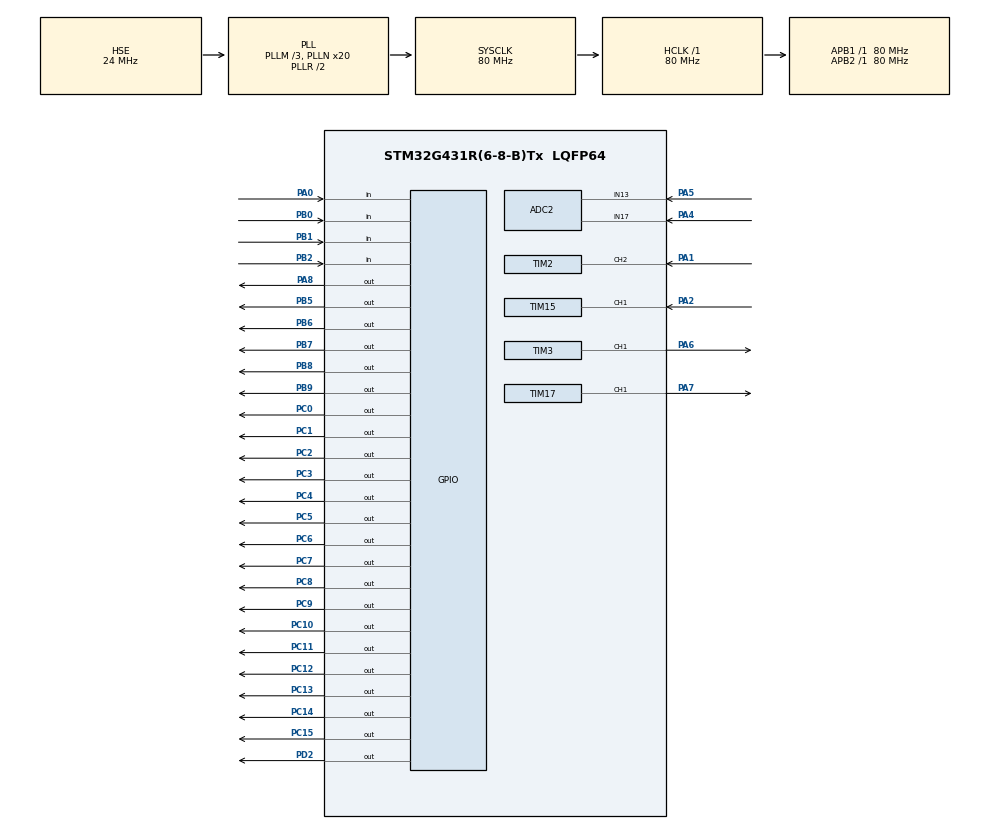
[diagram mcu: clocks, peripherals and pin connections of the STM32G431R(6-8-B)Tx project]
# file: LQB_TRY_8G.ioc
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ADC2.Channel-0\#ChannelRegularConversion=ADC_CHANNEL_17
ADC2.Channel-1\#ChannelRegularConversion=ADC_CHANNEL_13
ADC2.NbrOfConversion=2
ADC2.NbrOfConversionFlag=1
ADC2.OffsetNumber-0\#ChannelRegularConversion=ADC_OFFSET_NONE
ADC2.OffsetNumber-1\#ChannelRegularConversion=ADC_OFFSET_NONE
ADC2.Rank-0\#ChannelRegularConversion=1
ADC2.Rank-1\#ChannelRegularConversion=2
ADC2.SamplingTime-0\#ChannelRegularConversion=ADC_SAMPLETIME_640CYCLES_5
ADC2.SamplingTime-1\#ChannelRegularConversion=ADC_SAMPLETIME_640CYCLES_5
Mcu.Family=STM32G4
Mcu.Name=STM32G431R(6-8-B)Tx
Mcu.Package=LQFP64
NVIC.PriorityGroup=NVIC_PRIORITYGROUP_4
NVIC.TIM1_BRK_TIM15_IRQn=true\:0\:0\:false\:false\:true\:true\:true
NVIC.TIM2_IRQn=true\:0\:0\:false\:false\:true\:true\:true
NVIC.TIM6_DAC_IRQn=true\:0\:0\:false\:false\:true\:true\:true
PA0.GPIO_Mode=GPIO_MODE_INPUT
PA0.GPIO_PuPd=GPIO_PULLUP
PA0.Signal=GPIO_Input
PA1.Signal=S_TIM2_CH2
PA13.Mode=Serial_Wire
PA13.Signal=SYS_JTMS-SWDIO
PA14.Mode=Serial_Wire
PA14.Signal=SYS_JTCK-SWCLK
PA2.Signal=S_TIM15_CH1
PA4.Mode=IN17-Single-Ended
PA4.Signal=ADC2_IN17
PA5.Mode=IN13-Single-Ended
PA5.Signal=ADC2_IN13
PA6.Signal=S_TIM3_CH1
PA7.Signal=S_TIM17_CH1
PA8.Signal=GPIO_Output
PB0.GPIO_Mode=GPIO_MODE_INPUT
PB0.GPIO_PuPd=GPIO_PULLUP
PB0.Signal=GPIO_Input
PB1.GPIO_Mode=GPIO_MODE_INPUT
PB1.GPIO_PuPd=GPIO_PULLUP
PB1.Signal=GPIO_Input
PB2.GPIO_Mode=GPIO_MODE_INPUT
PB2.GPIO_PuPd=GPIO_PULLUP
PB2.Signal=GPIO_Input
PB5.Signal=GPIO_Output
PB6.Signal=GPIO_Output
PB7.Signal=GPIO_Output
PB8-BOOT0.Signal=GPIO_Output
PB9.Signal=GPIO_Output
PC0.Signal=GPIO_Output
PC1.Signal=GPIO_Output
PC10.Signal=GPIO_Output
PC11.Signal=GPIO_Output
PC12.Signal=GPIO_Output
PC13.Signal=GPIO_Output
PC14-OSC32_IN.Signal=GPIO_Output
PC15-OSC32_OUT.Signal=GPIO_Output
PC2.Signal=GPIO_Output
PC3.Signal=GPIO_Output
PC4.Signal=GPIO_Output
PC5.Signal=GPIO_Output
PC6.Signal=GPIO_Output
PC7.Signal=GPIO_Output
PC8.Signal=GPIO_Output
PC9.Signal=GPIO_Output
PD2.Signal=GPIO_Output
PF0-OSC_IN.Mode=HSE-External-Oscillator
PF0-OSC_IN.Signal=RCC_OSC_IN
PF1-OSC_OUT.Mode=HSE-External-Oscillator
PF1-OSC_OUT.Signal=RCC_OSC_OUT
ProjectManager.HeapSize=0x200
ProjectManager.StackSize=0x400
ProjectManager.TargetToolchain=MDK-ARM V5
RCC.ADC12Freq_Value=80000000
RCC.AHBFreq_Value=80000000
RCC.APB1Freq_Value=80000000
RCC.APB1TimFreq_Value=80000000
RCC.APB2Freq_Value=80000000
RCC.APB2TimFreq_Value=80000000
RCC.CortexFreq_Value=80000000
RCC.EXTERNAL_CLOCK_VALUE=12288000
RCC.HCLKFreq_Value=80000000
RCC.HSE_VALUE=24000000
RCC.HSI48_VALUE=48000000
RCC.HSI_VALUE=16000000
RCC.LSE_VALUE=32768
RCC.PLLM=RCC_PLLM_DIV3
RCC.PLLN=20
RCC.PLLSourceVirtual=RCC_PLLSOURCE_HSE
RCC.SYSCLKFreq_VALUE=80000000
RCC.SYSCLKSource=RCC_SYSCLKSOURCE_PLLCLK
RCC.USBFreq_Value=80000000
RCC.VCOOutputFreq_Value=160000000
SH.S_TIM15_CH1.0=TIM15_CH1,Input_Capture1_from_TI1
SH.S_TIM17_CH1.0=TIM17_CH1,PWM Generation1 CH1
SH.S_TIM2_CH2.0=TIM2_CH2,Input_Capture2_from_TI2
SH.S_TIM3_CH1.0=TIM3_CH1,PWM Generation1 CH1
TIM15.Channel-Input_Capture1_from_TI1=TIM_CHANNEL_1
TIM15.PeriodNoDither=0xffff
TIM15.Prescaler=79
TIM17.Channel=TIM_CHANNEL_1
TIM17.PeriodNoDither=99
TIM17.Prescaler=799
TIM17.PulseNoDither_1=50
TIM2.Channel-Input_Capture2_from_TI2=TIM_CHANNEL_2
TIM2.Prescaler=79
TIM3.Channel-PWM\ Generation1\ CH1=TIM_CHANNEL_1
TIM3.PeriodNoDither=99
TIM3.Prescaler=799
TIM6.PeriodNoDither=999
TIM6.Prescaler=799
VP_SYS_VS_DBSignals.Mode=DisableDeadBatterySignals
VP_TIM15_VS_ClockSourceINT.Mode=Internal
VP_TIM17_VS_ClockSourceINT.Mode=Enable_Timer
VP_TIM3_VS_ClockSourceINT.Mode=Internal
VP_TIM6_VS_ClockSourceINT.Mode=Enable_Timer
board=custom

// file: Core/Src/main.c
/* USER CODE BEGIN Header */
/**
  ******************************************************************************
  * @file           : main.c
  * @brief          : Main program body
  ******************************************************************************
  * @attention
  *
  * <h2><center>&copy; Copyright (c) 2023 STMicroelectronics.
  * All rights reserved.</center></h2>
  *
  * This software component is licensed by ST under BSD 3-Clause license,
  * the "License"; You may not use this file except in compliance with the
  * License. You may obtain a copy of the License at:
  *                        opensource.org/licenses/BSD-3-Clause
  *
  ******************************************************************************
  */
/* USER CODE END Header */
#include "main.h"
#include "adc.h"
#include "tim.h"
#include "gpio.h"

/* USER CODE BEGIN Includes */
#include "mint.h"
#include "lcd.h"
#include "i2c_hal.h"

/* USER CODE END Includes */

/* USER CODE BEGIN PV */
bool page=0,line=0;
unsigned char puls1,puls2,f_math,p_math;
double adc[2];
char text[30];

extern keys key[4];

/* USER CODE END PV */

void SystemClock_Config(void);
/* USER CODE BEGIN PFP */
void LCD_Proc(void);
void KEY_Proc(void);
void LED_Proc(unsigned char led,unsigned char sta);

/* USER CODE END PFP */

int main(void)
{

  /* MCU Configuration--------------------------------------------------------*/

  /* Reset of all peripherals, Initializes the Flash interface and the Systick. */
  HAL_Init();

  /* Configure the system clock */
  SystemClock_Config();

  /* Initialize all configured peripherals */
  MX_GPIO_Init();
  MX_ADC2_Init();
  MX_TIM2_Init();
  MX_TIM3_Init();
  MX_TIM6_Init();
  MX_TIM15_Init();
  MX_TIM17_Init();
  /* USER CODE BEGIN 2 */

	//LCD初始化
	LCD_Init();
	LCD_Clear(Black);
	LCD_SetBackColor(Black);
	LCD_SetTextColor(White);
	//LED初始化
	LED_Proc(0,0);
	//KEY初始化
	HAL_TIM_Base_Start_IT(&htim6);
	//ADC初始化
	HAL_ADCEx_Calibration_Start(&hadc2,ADC_SINGLE_ENDED);
	//输入捕获初始化
	HAL_TIM_IC_Start_IT(&htim15,TIM_CHANNEL_1); //PA1
	HAL_TIM_IC_Start_IT(&htim2,TIM_CHANNEL_2);	//PA2
	//PWM输出初始化
	HAL_TIM_PWM_Start(&htim3,TIM_CHANNEL_1);		//PA6
	HAL_TIM_PWM_Start(&htim17,TIM_CHANNEL_1);		//PA7
	//I2C初始化
	I2CInit();
	f_math = eeprom_read(0);
	p_math = eeprom_read(1);
	if(f_math > 4 || f_math <1) f_math = 1;
	if(p_math > 4 || p_math <1) p_math = 1;
  /* USER CODE END 2 */
  /* Infinite loop */
  while (1)
  {
		LCD_Proc();
		KEY_Proc();
		if(adc[0] > adc[1]) LED_Proc(8,1);
		else LED_Proc(8,0);
  }
}

void SystemClock_Config(void)
{
  RCC_OscInitTypeDef RCC_OscInitStruct = {0};
  RCC_ClkInitTypeDef RCC_ClkInitStruct = {0};
  RCC_PeriphCLKInitTypeDef PeriphClkInit = {0};

  /** Configure the main internal regulator output voltage
  */
  HAL_PWREx_ControlVoltageScaling(PWR_REGULATOR_VOLTAGE_SCALE1);
  /** Initializes the RCC Oscillators according to the specified parameters
  * in the RCC_OscInitTypeDef structure.
  */
  RCC_OscInitStruct.OscillatorType = RCC_OSCILLATORTYPE_HSE;
  RCC_OscInitStruct.HSEState = RCC_HSE_ON;
  RCC_OscInitStruct.PLL.PLLState = RCC_PLL_ON;
  RCC_OscInitStruct.PLL.PLLSource = RCC_PLLSOURCE_HSE;
  RCC_OscInitStruct.PLL.PLLM = RCC_PLLM_DIV3;
  RCC_OscInitStruct.PLL.PLLN = 20;
  RCC_OscInitStruct.PLL.PLLP = RCC_PLLP_DIV2;
  RCC_OscInitStruct.PLL.PLLQ = RCC_PLLQ_DIV2;
  RCC_OscInitStruct.PLL.PLLR = RCC_PLLR_DIV2;
  if (HAL_RCC_OscConfig(&RCC_OscInitStruct) != HAL_OK)
  {
    Error_Handler();
  }
  /** Initializes the CPU, AHB and APB buses clocks
  */
  RCC_ClkInitStruct.ClockType = RCC_CLOCKTYPE_HCLK|RCC_CLOCKTYPE_SYSCLK
                              |RCC_CLOCKTYPE_PCLK1|RCC_CLOCKTYPE_PCLK2;
  RCC_ClkInitStruct.SYSCLKSource = RCC_SYSCLKSOURCE_PLLCLK;
  RCC_ClkInitStruct.AHBCLKDivider = RCC_SYSCLK_DIV1;
  RCC_ClkInitStruct.APB1CLKDivider = RCC_HCLK_DIV1;
  RCC_ClkInitStruct.APB2CLKDivider = RCC_HCLK_DIV1;

  if (HAL_RCC_ClockConfig(&RCC_ClkInitStruct, FLASH_LATENCY_2) != HAL_OK)
  {
    Error_Handler();
  }
  /** Initializes the peripherals clocks
  */
  PeriphClkInit.PeriphClockSelection = RCC_PERIPHCLK_ADC12;
  PeriphClkInit.Adc12ClockSelection = RCC_ADC12CLKSOURCE_SYSCLK;
  if (HAL_RCCEx_PeriphCLKConfig(&PeriphClkInit) != HAL_OK)
  {
    Error_Handler();
  }
}

/* USER CODE BEGIN 4 */
/********************************************************
*LCD显示
********************************************************/
void LCD_Proc(void)
{
	if(page == 0)
	{
		LCD_DisplayStringLine(Line1,(u8 *)"        DATA        ");
		sprintf(text,"    PULS1:%dKHZ         ",puls1);
		LCD_DisplayStringLine(Line2,(u8 *)text);
		sprintf(text,"    PULS2:%dKHZ         ",puls2);
		LCD_DisplayStringLine(Line3,(u8 *)text);
		sprintf(text,"    AO1:%.2fV         ",adc[0]/4095*3.3);
		LCD_DisplayStringLine(Line4,(u8 *)text);
		sprintf(text,"    AO2:%.2fV         ",adc[1]/4095*3.3);
		LCD_DisplayStringLine(Line5,(u8 *)text);
		LCD_DisplayStringLine(Line7,(u8 *)"                 1 ");
	}
	else if(page == 1)
	{
		LCD_DisplayStringLine(Line1,(u8 *)"       Setting      ");
		if(line == 0) LCD_SetTextColor(Green);
		sprintf(text,"    F_MATH:%d             ",f_math);
		LCD_DisplayStringLine(Line3,(u8 *)text);
		LCD_SetTextColor(White);

		if(line == 1) LCD_SetTextColor(Green);
		sprintf(text,"    P_MATH:%d          ",p_math);
		LCD_DisplayStringLine(Line4,(u8 *)text);
		LCD_SetTextColor(White);

		LCD_DisplayStringLine(Line2,(u8 *)"                    ");
		LCD_DisplayStringLine(Line5,(u8 *)"                    ");
		LCD_DisplayStringLine(Line7,(u8 *)"                 2  ");
	}
	else page = 0;
}
/********************************************************
*按键操作
********************************************************/
void KEY_Proc(void)
{
	if(key[0].single_sta == 1)
	{
		page = page == 0?1:0;
		if(page == 1) LED_Proc(1,1);
		else LED_Proc(1,0);
		key[0].single_sta = 0;
	}
	if(key[1].single_sta == 1)
	{
		if(page == 1) line = line==0?1:0;
		key[1].single_sta = 0;
	}
	if(key[2].single_sta == 1)
	{
		if(page == 1)
		{
			if(line == 0) f_math = f_math==4?1:f_math+1;
			else if(line == 1) p_math = p_math==4?1:p_math+1;
			eeprom_write(0,f_math);
			HAL_Delay(10);
			eeprom_write(1,p_math);
			HAL_Delay(10);
		}
		key[2].single_sta = 0;
	}
	if(key[3].single_sta == 1)
	{
		if(page == 1)
		{
			if(line == 0) f_math = f_math==1?4:f_math-1;
			else if(line == 1) p_math = p_math==1?4:p_math-1;
			eeprom_write(0,f_math);
			HAL_Delay(10);
			eeprom_write(1,p_math);
			HAL_Delay(10);
		}
		key[3].single_sta = 0;
	}
}
/********************************************************
*LED灯控制
********************************************************/
void LED_Proc(unsigned char led,unsigned char sta)
{
	static unsigned char LED_STA = 0xff;
	if(sta == 0) LED_STA |= (0x01 << (led-1));
	else if(sta == 1) LED_STA &= ~(0x01 << (led-1));

	GPIOC->ODR = LED_STA << 8;
	HAL_GPIO_WritePin(GPIOD,GPIO_PIN_2,GPIO_PIN_SET);
	HAL_GPIO_WritePin(GPIOD,GPIO_PIN_2,GPIO_PIN_RESET);
}
/********************************************************
*获取ADC值
********************************************************/
void ADCvalue(void)
{
	HAL_ADC_Start(&hadc2);
	adc[0] = HAL_ADC_GetValue(&hadc2);
	HAL_ADC_Start(&hadc2);
	adc[1] = HAL_ADC_GetValue(&hadc2);
}
/* USER CODE END 4 */

void Error_Handler(void)
{
  __disable_irq();
  while (1)
  {
  }
}

/************************ (C) COPYRIGHT STMicroelectronics *****END OF FILE****/
